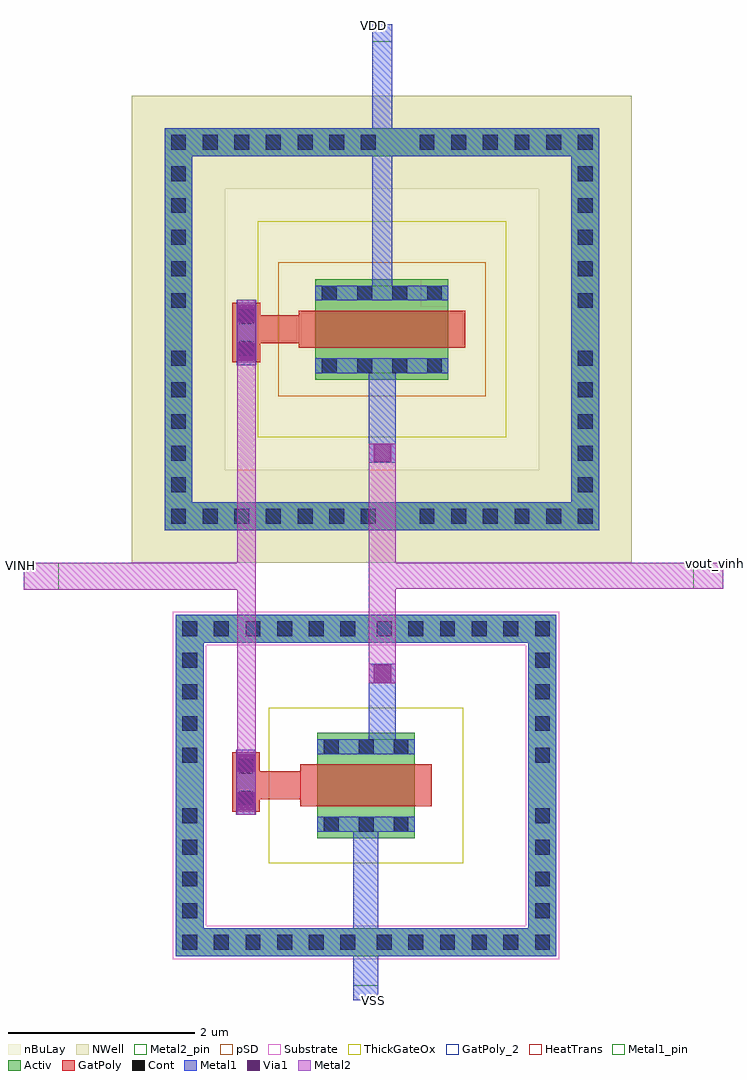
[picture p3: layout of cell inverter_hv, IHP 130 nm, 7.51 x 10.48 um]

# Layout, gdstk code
from math import pi, radians
import gdstk
lib = gdstk.Library(unit=1e-6, precision=5e-09)
def R(c, l, rs):  # rectangles x0, y0, x1, y1
    for r in rs: c.add(gdstk.rectangle(r[:2], r[2:], *l))
def A(c, l, x, y, w, h, nx, ny, dx, dy):  # array of equal rectangles
    R(c, l, [(x+i*dx, y+j*dy, x+i*dx+w, y+j*dy+h) for i in range(nx) for j in range(ny)])
def P(c, l, *ps):  # polygons
    for p in ps: c.add(gdstk.Polygon(p, *l))
Activ = (1, 0)
GatPoly = (5, 0)
GatPoly_2 = (5, 2)
Cont = (6, 0)
Metal1 = (8, 0)
Metal1_pin = (8, 2)
Metal2 = (10, 0)
Metal2_pin = (10, 2)
pSD = (14, 0)
Via1 = (19, 0)
NWell = (31, 0)
nBuLay = (32, 0)
Substrate = (40, 0)
ThickGateOx = (44, 0)
HeatTrans = (51, 0)

pmoshv_6 = lib.new_cell('pmosHV$6')
R(pmoshv_6, Activ, [(-1.62,-1.32,-1.32,2.75), (2.4,-1.32,2.7,2.75), (0,0,0.3,0.3), (0,0,1.08,1.43), (0.78,0,1.08,0.3), (-1.62,2.75,2.7,3.05)])
P(pmoshv_6, Activ, [(-1.62,-1.62),(-1.62,2.75),(-1.32,2.75),(-1.32,-1.32),(2.4,-1.32),(2.4,2.75),(-1.62,2.75),(-1.62,3.05),(2.7,3.05),(2.7,-1.62)])
R(pmoshv_6, GatPoly, [(0.34,-0.18,0.74,1.61)])
R(pmoshv_6, GatPoly_2, [(0.34,-0.18,0.74,1.61)])
A(pmoshv_6, Cont, -1.55, -1.55, 0.16, 0.16, 6, 2, 0.34, 4.37)
A(pmoshv_6, Cont, 0.77, -1.55, 0.16, 0.16, 6, 2, 0.34, 4.37)
A(pmoshv_6, Cont, -1.55, -1.21, 0.16, 0.16, 1, 5, 0, 0.34)
A(pmoshv_6, Cont, 2.47, -1.21, 0.16, 0.16, 1, 5, 0, 0.34)
A(pmoshv_6, Cont, 0.07, 0.07, 0.16, 0.16, 1, 3, 0, 0.375)
A(pmoshv_6, Cont, 0.85, 0.07, 0.16, 0.16, 1, 3, 0, 0.375)
A(pmoshv_6, Cont, -1.55, 0.78, 0.16, 0.16, 1, 6, 0, 0.34)
A(pmoshv_6, Cont, 2.47, 0.78, 0.16, 0.16, 1, 6, 0, 0.34)
R(pmoshv_6, Cont, [(0.07,1.2,0.23,1.36), (0.85,1.2,1.01,1.36)])
R(pmoshv_6, Metal1, [(-1.62,-1.62,2.7,-1.32), (-1.62,-1.32,-1.32,2.75), (2.4,-1.32,2.7,2.75), (0.07,0,0.23,1.43), (0.85,0,1.01,1.43), (-1.62,2.75,2.7,3.05)])
R(pmoshv_6, Metal1_pin, [(0.07,0,0.23,1.43), (0.85,0,1.01,1.43)])
R(pmoshv_6, pSD, [(-0.18,-0.4,1.26,1.83)])
R(pmoshv_6, NWell, [(-1.97,-1.97,3.05,3.4), (-0.62,-0.62,1.7,2.05)])
R(pmoshv_6, nBuLay, [(-1.97,-0.97,-0.97,2.4), (2.05,-0.97,3.05,2.4), (-1.97,2.4,3.05,3.4)])
P(pmoshv_6, nBuLay, [(-1.97,-1.97),(-1.97,2.4),(-0.97,2.4),(-0.97,-0.97),(2.05,-0.97),(2.05,2.4),(-1.97,2.4),(-1.97,3.4),(3.05,3.4),(3.05,-1.97)])
R(pmoshv_6, Substrate, [(0.78,0,1.08,0.3)])
R(pmoshv_6, ThickGateOx, [(-0.62,-0.62,1.7,2.05)])
R(pmoshv_6, HeatTrans, [(0.34,-0.18,0.74,1.61)])
pmoshv_6.add(gdstk.Label('pmosHV', (0.54,0.715), layer=63, texttype=0))
pmoshv_6.add(gdstk.Label('well', (0.54,-1.47), layer=63, texttype=0))
pmoshv_6.add(gdstk.Label('pmos', (0.54,0.715), layer=51, texttype=0))

nmoshv_7 = lib.new_cell('nmosHV$7')
R(nmoshv_7, Activ, [(-1.27,-1.22,-0.97,2.27), (2.1,-1.22,2.4,2.27), (0,0,0.3,0.3), (0,0,1.13,1.05), (0.83,0,1.13,0.3), (-1.27,2.27,2.4,2.57)])
P(nmoshv_7, Activ, [(-1.27,-1.52),(-1.27,2.27),(-0.97,2.27),(-0.97,-1.22),(2.1,-1.22),(2.1,2.27),(-1.27,2.27),(-1.27,2.57),(2.4,2.57),(2.4,-1.52)])
R(nmoshv_7, GatPoly, [(0.34,-0.18,0.79,1.23)])
R(nmoshv_7, GatPoly_2, [(0.34,-0.18,0.79,1.23)])
A(nmoshv_7, Cont, -1.2, -1.45, 0.16, 0.16, 5, 2, 0.34, 3.79)
A(nmoshv_7, Cont, 0.81, -1.45, 0.16, 0.16, 5, 2, 0.34, 3.79)
A(nmoshv_7, Cont, -1.2, -1.11, 0.16, 0.16, 1, 5, 0, 0.34)
A(nmoshv_7, Cont, 2.17, -1.11, 0.16, 0.16, 1, 5, 0, 0.34)
A(nmoshv_7, Cont, 0.07, 0.07, 0.16, 0.16, 1, 3, 0, 0.375)
A(nmoshv_7, Cont, 0.9, 0.07, 0.16, 0.16, 1, 3, 0, 0.375)
A(nmoshv_7, Cont, -1.2, 0.64, 0.16, 0.16, 1, 5, 0, 0.34)
A(nmoshv_7, Cont, 2.17, 0.64, 0.16, 0.16, 1, 5, 0, 0.34)
R(nmoshv_7, Metal1, [(-1.27,-1.52,2.4,-1.22), (-1.27,-1.22,-0.97,2.27), (2.1,-1.22,2.4,2.27), (0.07,0,0.23,1.05), (0.9,0,1.06,1.05), (-1.27,2.27,2.4,2.57)])
R(nmoshv_7, Metal1_pin, [(0.07,0,0.23,1.05), (0.9,0,1.06,1.05)])
R(nmoshv_7, pSD, [(-1.3,-1.19,-0.94,2.24), (2.07,-1.19,2.43,2.24), (-1.3,2.24,2.43,2.6)])
P(nmoshv_7, pSD, [(-1.3,-1.55),(-1.3,2.24),(-0.94,2.24),(-0.94,-1.19),(2.07,-1.19),(2.07,2.24),(-1.3,2.24),(-1.3,2.6),(2.43,2.6),(2.43,-1.55)])
R(nmoshv_7, Substrate, [(-1.3,-1.19,-0.94,2.24), (2.07,-1.19,2.43,2.24), (-1.3,2.24,2.43,2.6)])
P(nmoshv_7, Substrate, [(-1.3,-1.55),(-1.3,2.24),(-0.94,2.24),(-0.94,-1.19),(2.07,-1.19),(2.07,2.24),(-1.3,2.24),(-1.3,2.6),(2.43,2.6),(2.43,-1.55)])
R(nmoshv_7, ThickGateOx, [(-0.27,-0.52,1.4,1.57)])
R(nmoshv_7, HeatTrans, [(0.34,-0.18,0.79,1.23)])
nmoshv_7.add(gdstk.Label('nmosHV', (0.565,0.525), layer=63, texttype=0))
nmoshv_7.add(gdstk.Label('sub!', (0.565,-1.37), layer=63, texttype=0))
nmoshv_7.add(gdstk.Label('nmosHV', (0.565,0.525), layer=51, texttype=0))

via_stack_3 = lib.new_cell('via_stack$3')
R(via_stack_3, GatPoly, [(-0.32,-0.15,0.32,0.15)])
R(via_stack_3, Cont, [(-0.25,-0.08,-0.09,0.08), (0.09,-0.08,0.25,0.08)])
R(via_stack_3, Metal1, [(-0.35,-0.105,0.35,0.105)])
R(via_stack_3, Metal2, [(-0.35,-0.1,0.35,0.1)])
R(via_stack_3, Via1, [(-0.3,-0.095,-0.11,0.095), (0.11,-0.095,0.3,0.095)])

via_stack = lib.new_cell('via_stack')
R(via_stack, Metal1, [(-0.145,-0.105,0.145,0.105)])
R(via_stack, Metal2, [(-0.145,-0.1,0.145,0.1)])
R(via_stack, Via1, [(-0.095,-0.095,0.095,0.095)])

inverter_hv = lib.new_cell('inverter_hv')
R(inverter_hv, GatPoly, [(6.61,6.5,6.91,7.14), (6.61,6.635,8.215,6.935), (6.615,11.33,6.915,11.97), (6.615,11.535,8.06,11.835)])
R(inverter_hv, Metal1, [(7.91,4.48,8.18,6.45), (8.08,7.12,8.37,8.09), (8.08,10.25,8.37,11.375), (8.115,11.995,8.33,14.965)])
R(inverter_hv, Metal1_pin, [(7.91,4.48,8.18,4.64), (8.115,14.775,8.33,14.965)])
R(inverter_hv, Metal2, [(6.665,6.6,6.865,12), (8.08,8.08,8.37,10.455), (4.375,8.885,6.865,9.175), (8.08,8.9,11.885,9.175)])
R(inverter_hv, Metal2_pin, [(4.375,8.885,4.75,9.175), (11.565,8.9,11.885,9.175)])
inverter_hv.add(gdstk.Reference(pmoshv_6, (8.935,11.145), rotation=pi/2))
inverter_hv.add(gdstk.Reference(nmoshv_7, (8.575,6.22), rotation=pi/2))
inverter_hv.add(gdstk.Reference(via_stack_3, (6.765,11.65), rotation=3*pi/2))
inverter_hv.add(gdstk.Reference(via_stack_3, (6.76,6.82), rotation=3*pi/2))
inverter_hv.add(gdstk.Reference(via_stack, (8.225,10.355)))
inverter_hv.add(gdstk.Reference(via_stack, (8.225,7.985)))
inverter_hv.add(gdstk.Label('VDD', (8.125,14.95), layer=8, texttype=0))
inverter_hv.add(gdstk.Label('VSS', (8.13,4.475), layer=8, texttype=0))
inverter_hv.add(gdstk.Label('vout_vinh', (11.885,9.17), layer=10, texttype=0))
inverter_hv.add(gdstk.Label('VINH', (4.34,9.145), layer=10, texttype=0))

lib.write_gds('inverter_hv.gds')
